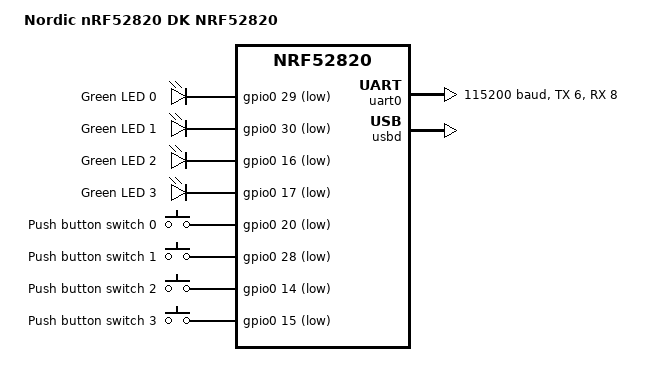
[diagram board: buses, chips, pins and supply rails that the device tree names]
/*
 * Copyright (c) 2020 Nordic Semiconductor ASA
 *
 * SPDX-License-Identifier: Apache-2.0
 */

/dts-v1/;
#include <nordic/nrf52820_qdaa.dtsi>

/ {
	model = "Nordic nRF52820 DK NRF52820";
	compatible = "nordic,nrf52820-dk-nrf52820";

	chosen {
		zephyr,console = &uart0;
		zephyr,shell-uart = &uart0;
		zephyr,uart-mcumgr = &uart0;
		zephyr,bt-mon-uart = &uart0;
		zephyr,bt-c2h-uart = &uart0;
		zephyr,sram = &sram0;
		zephyr,flash = &flash0;
		zephyr,code-partition = &slot0_partition;
	};

	leds {
		compatible = "gpio-leds";
		led0: led_0 {
			gpios = <&gpio0 29 GPIO_ACTIVE_LOW>;
			label = "Green LED 0";
		};
		led1: led_1 {
			gpios = <&gpio0 30 GPIO_ACTIVE_LOW>;
			label = "Green LED 1";
		};
		led2: led_2 {
			gpios = <&gpio0 16 GPIO_ACTIVE_LOW>;
			label = "Green LED 2";
		};
		led3: led_3 {
			gpios = <&gpio0 17 GPIO_ACTIVE_LOW>;
			label = "Green LED 3";
		};
	};

	

	buttons {
		compatible = "gpio-keys";
		button0: button_0 {
			gpios = <&gpio0 20 (GPIO_PULL_UP | GPIO_ACTIVE_LOW)>;
			label = "Push button switch 0";
		};
		button1: button_1 {
			gpios = <&gpio0 28 (GPIO_PULL_UP | GPIO_ACTIVE_LOW)>;
			label = "Push button switch 1";
		};
		button2: button_2 {
			gpios = <&gpio0 14 (GPIO_PULL_UP | GPIO_ACTIVE_LOW)>;
			label = "Push button switch 2";
		};
		button3: button_3 {
			gpios = <&gpio0 15 (GPIO_PULL_UP | GPIO_ACTIVE_LOW)>;
			label = "Push button switch 3";
		};
	};

	/* These aliases are provided for compatibility with samples */
	aliases {
		led0 = &led0;
		led1 = &led1;
		led2 = &led2;
		led3 = &led3;
		sw0 = &button0;
		sw1 = &button1;
		sw2 = &button2;
		sw3 = &button3;
	};
};

&gpiote {
	status = "okay";
};

&gpio0 {
	status = "okay";
};

&uart0 {
	compatible = "nordic,nrf-uarte";
	status = "okay";
	current-speed = <115200>;
	tx-pin = <6>;
	rx-pin = <8>;
	rts-pin = <5>;
	cts-pin = <7>;
};


&flash0 {

	partitions {
		compatible = "fixed-partitions";
		#address-cells = <1>;
		#size-cells = <1>;

		boot_partition: partition@0 {
			label = "mcuboot";
			reg = <0x00000000 0xC000>;
		};
		slot0_partition: partition@C000 {
			label = "image-0";
			reg = <0x0000C000 0x17000>;
		};
		slot1_partition: partition@23000 {
			label = "image-1";
			reg = <0x00023000 0x17000>;
		};
		storage_partition: partition@3a000 {
			label = "storage";
			reg = <0x0003a000 0x00006000>;
		};
	};
};

&usbd {
	compatible = "nordic,nrf-usbd";
	status = "okay";
};
